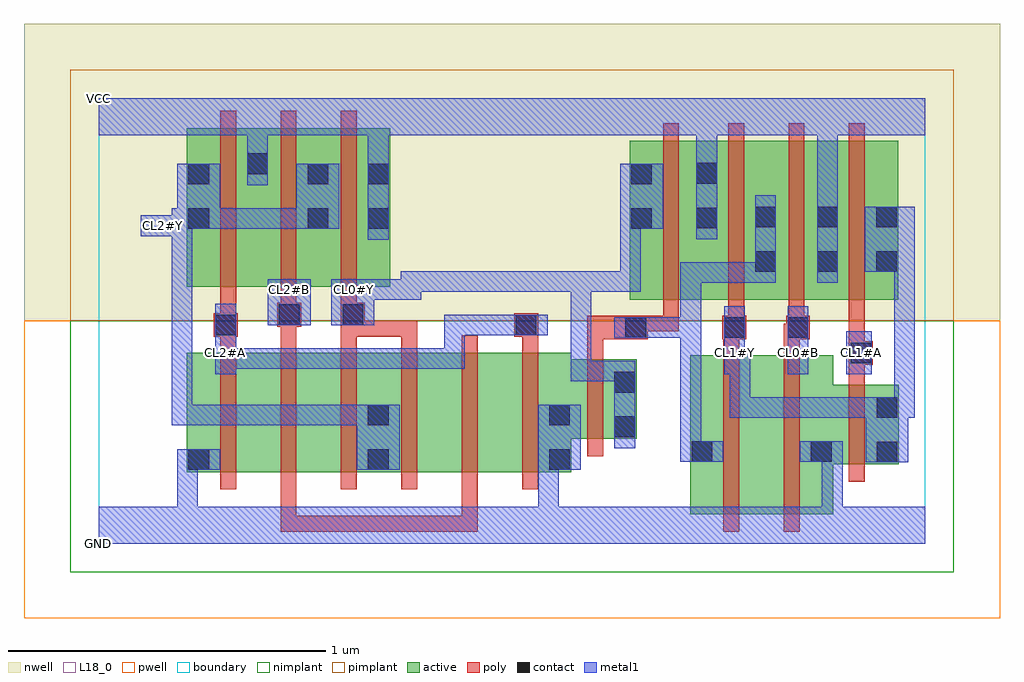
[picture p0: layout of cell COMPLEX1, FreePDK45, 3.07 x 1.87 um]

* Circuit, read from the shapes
.subckt COMPLEX1 CL0#B CL0#Y CL1#A CL1#Y CL2#A CL2#B CL2#Y GND VCC
M1 n1 CL2#A GND VSUBS nfet w=0.375u l=0.05u
M2 n2 CL2#B n1 VSUBS nfet w=0.375u l=0.05u
M3 CL2#Y CL0#Y n2 VSUBS nfet w=0.375u l=0.05u
M4 n3 CL0#Y CL2#Y VSUBS nfet w=0.375u l=0.05u
M5 n4 CL2#B n3 VSUBS nfet w=0.375u l=0.05u
M6 GND CL2#A n4 VSUBS nfet w=0.375u l=0.05u
M7 CL0#Y n5 GND VSUBS nfet w=0.25u l=0.05u
M8 n6 CL1#Y n5 VSUBS nfet w=0.5u l=0.05u
M9 GND CL0#B n6 VSUBS nfet w=0.5u l=0.05u
M10 CL1#Y CL1#A GND VSUBS nfet w=0.25u l=0.05u
M11 VCC CL2#A CL2#Y n7 pfet w=0.5u l=0.05u
M12 CL2#Y CL2#B VCC n7 pfet w=0.5u l=0.05u
M13 VCC CL0#Y CL2#Y n7 pfet w=0.5u l=0.05u
M14 VCC n5 CL0#Y n7 pfet w=0.5u l=0.05u
M15 n5 CL1#Y VCC n7 pfet w=0.5u l=0.05u
M16 VCC CL0#B n5 n7 pfet w=0.5u l=0.05u
M17 CL1#Y CL1#A VCC n7 pfet w=0.5u l=0.05u
.ends

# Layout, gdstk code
import gdstk
lib = gdstk.Library(unit=1e-6, precision=1e-09)
def R(c, l, rs):  # rectangles x0, y0, x1, y1
    for r in rs: c.add(gdstk.rectangle(r[:2], r[2:], *l))
def A(c, l, x, y, w, h, nx, ny, dx, dy):  # array of equal rectangles
    R(c, l, [(x+i*dx, y+j*dy, x+i*dx+w, y+j*dy+h) for i in range(nx) for j in range(ny)])
active = (1, 0)
pwell = (2, 0)
nwell = (3, 0)
nimplant = (4, 0)
pimplant = (5, 0)
poly = (9, 0)
contact = (10, 0)
metal1 = (11, 0)
L18_0 = (18, 0)
boundary = (235, 0)

complex1 = lib.new_cell('COMPLEX1')
R(complex1, active, [(1.86,0.092,2.085,0.592), (2.085,0.092,2.31,0.592), (2.235,0.092,2.31,0.497), (1.86,0.145,1.965,0.592), (0.277,0.225,0.502,0.6), (0.502,0.225,0.692,0.6), (0.692,0.225,0.917,0.6), (0.842,0.225,1.072,0.6), (0.842,0.225,0.917,0.592), (1.072,0.225,1.262,0.6), (1.262,0.225,1.487,0.6), (1.412,0.225,1.487,0.497), (0.277,0.227,0.352,0.6), (2.235,0.25,2.517,0.5), (2.442,0.25,2.517,0.5), (1.412,0.33,1.692,0.58), (1.617,0.33,1.692,0.58), (1.67,0.767,1.745,1.2), (1.67,0.767,1.95,1.267), (1.875,0.767,2.135,1.267), (2.06,0.767,2.33,1.267), (2.255,0.767,2.515,1.267), (2.44,0.767,2.515,1.2), (0.277,0.807,0.537,1.307), (0.277,0.807,0.352,1.2), (0.462,0.807,0.537,1.255), (0.462,0.807,0.727,1.307), (0.652,0.807,0.727,1.2), (0.652,0.807,0.917,1.307), (0.842,0.807,0.917,1.307), (1.875,0.807,1.95,1.267), (2.06,0.807,2.135,1.2), (2.255,0.807,2.33,1.255)])
R(complex1, pwell, [(-0.235,-0.235,2.835,0.7)])
R(complex1, nwell, [(-0.235,0.7,2.835,1.635)])
R(complex1, nimplant, [(-0.09,-0.09,2.69,0.7)])
R(complex1, pimplant, [(-0.09,0.7,2.69,1.49)])
A(complex1, poly, 0.382, 0.17, 0.05, 0.485, 6, 1, 0.19, 0)
A(complex1, poly, 1.98, 0.712, 0.05, 0.61, 3, 1, 0.19, 0)
A(complex1, poly, 0.382, 0.752, 0.05, 0.61, 3, 1, 0.19, 0)
R(complex1, poly, [(0.572,0.037,0.622,0.087), (0.572,0.037,0.622,0.087), (0.572,0.037,0.622,0.087), (0.572,0.037,0.622,0.22), (0.572,0.037,0.87,0.087), (0.82,0.037,0.87,0.087), (0.82,0.037,0.87,0.087), (0.82,0.037,0.87,0.087), (0.82,0.037,1.06,0.087), (1.01,0.037,1.06,0.087), (1.01,0.037,1.192,0.087), (1.142,0.037,1.192,0.087), (1.142,0.037,1.192,0.087), (1.142,0.037,1.192,0.087), (1.142,0.037,1.192,0.22), (1.965,0.037,2.015,0.647), (2.155,0.037,2.205,0.647), (2.36,0.195,2.41,0.555), (1.537,0.275,1.587,0.635), (2.36,0.505,2.41,0.612), (2.36,0.562,2.41,0.612), (2.36,0.562,2.41,0.612), (2.36,0.562,2.435,0.637), (1.537,0.585,1.587,0.692), (2.36,0.587,2.41,0.762), (1.965,0.597,2.015,0.692), (2.155,0.597,2.205,0.692), (0.382,0.605,0.432,0.7), (0.572,0.605,0.622,0.732), (0.762,0.605,0.812,0.7), (0.952,0.605,1.002,0.7), (1.332,0.605,1.382,0.7), (1.537,0.642,1.727,0.717), (1.962,0.642,2.037,0.717), (2.155,0.642,2.212,0.692), (2.162,0.642,2.212,0.692), (2.162,0.642,2.237,0.717), (0.362,0.65,0.437,0.725), (0.762,0.65,0.812,0.7), (0.762,0.65,1.002,0.7), (0.762,0.65,0.812,0.732), (0.952,0.65,1.002,0.7), (0.952,0.65,1.002,0.7), (0.952,0.65,1.002,0.7), (1.307,0.65,1.382,0.725), (1.677,0.667,1.727,0.717), (1.677,0.667,1.825,0.717), (1.775,0.667,1.825,0.762), (1.98,0.667,2.03,0.717), (1.98,0.667,2.03,0.717), (1.98,0.667,2.03,0.762), (2.17,0.667,2.22,0.762), (0.382,0.675,0.432,0.725), (0.382,0.675,0.432,0.725), (0.382,0.675,0.432,0.802), (0.562,0.682,0.637,0.757), (0.572,0.682,0.622,0.732), (0.572,0.682,0.622,0.732), (0.762,0.682,0.837,0.757), (0.572,0.707,0.622,0.802), (0.762,0.707,0.812,0.802), (1.775,0.712,1.825,1.322)])
R(complex1, contact, [(0.282,0.232,0.347,0.297), (0.847,0.232,0.912,0.297), (1.417,0.232,1.482,0.297), (2.447,0.255,2.512,0.32), (1.865,0.257,1.93,0.322), (2.24,0.257,2.305,0.322), (1.622,0.335,1.687,0.4), (0.847,0.372,0.912,0.437), (1.417,0.372,1.482,0.437), (2.447,0.395,2.512,0.46), (1.622,0.475,1.687,0.54), (2.365,0.567,2.43,0.632), (1.657,0.647,1.722,0.712), (1.967,0.647,2.032,0.712), (2.167,0.647,2.232,0.712), (0.367,0.655,0.432,0.72), (1.312,0.655,1.377,0.72), (0.567,0.687,0.632,0.752), (0.767,0.687,0.832,0.752), (2.065,0.855,2.13,0.92), (2.26,0.855,2.325,0.92), (2.445,0.855,2.51,0.92), (0.282,0.99,0.347,1.055), (0.657,0.99,0.722,1.055), (0.847,0.99,0.912,1.055), (1.675,0.99,1.74,1.055), (1.88,0.992,1.945,1.057), (2.065,0.995,2.13,1.06), (2.26,0.995,2.325,1.06), (2.445,0.995,2.51,1.06), (0.282,1.13,0.347,1.195), (0.657,1.13,0.722,1.195), (0.847,1.13,0.912,1.195), (1.675,1.13,1.74,1.195), (1.88,1.132,1.945,1.197), (0.467,1.162,0.532,1.227)])
R(complex1, metal1, [(0,0,2.6,0.115), (0.247,0.05,0.312,0.115), (0.247,0.05,0.312,0.115), (0.247,0.05,0.312,0.297), (1.382,0.05,1.447,0.115), (1.382,0.05,1.447,0.115), (1.382,0.05,1.447,0.297), (2.275,0.05,2.34,0.322), (0.247,0.232,0.382,0.297), (0.812,0.232,0.947,0.437), (1.382,0.232,1.517,0.437), (2.412,0.255,2.547,0.46), (1.83,0.257,1.965,0.322), (1.83,0.257,1.895,0.712), (2.205,0.257,2.34,0.322), (1.622,0.3,1.687,0.575), (0.23,0.372,0.295,0.437), (0.23,0.372,0.295,0.437), (0.23,0.372,0.295,0.437), (0.23,0.372,0.52,0.437), (0.23,0.372,0.295,1.032), (0.455,0.372,0.52,0.437), (0.455,0.372,0.66,0.437), (0.595,0.372,0.66,0.437), (0.595,0.372,0.66,0.437), (0.595,0.372,0.66,0.437), (0.595,0.372,0.877,0.437), (0.812,0.372,0.877,0.437), (0.812,0.372,0.877,0.437), (1.985,0.395,2.17,0.46), (1.985,0.395,2.05,0.597), (2.105,0.395,2.17,0.46), (2.105,0.395,2.187,0.46), (2.122,0.395,2.187,0.46), (2.122,0.395,2.547,0.46), (2.482,0.395,2.547,0.46), (2.482,0.395,2.547,0.46), (2.482,0.395,2.547,0.46), (2.482,0.395,2.567,0.46), (2.502,0.395,2.567,0.92), (1.485,0.51,1.55,0.575), (1.485,0.51,1.55,0.575), (1.485,0.51,1.55,0.575), (1.485,0.51,1.55,0.575), (1.485,0.51,1.55,0.575), (1.485,0.51,1.687,0.575), (1.485,0.51,1.55,0.857), (0.367,0.532,0.432,0.755), (1.967,0.532,2.032,0.747), (1.967,0.532,2.05,0.597), (2.167,0.532,2.232,0.747), (2.352,0.532,2.432,0.667), (0.367,0.55,0.52,0.615), (0.455,0.55,0.52,0.615), (0.455,0.55,0.657,0.615), (0.592,0.55,0.657,0.615), (0.592,0.55,0.657,0.615), (0.592,0.55,0.657,0.615), (0.592,0.55,0.877,0.615), (0.812,0.55,0.877,0.615), (0.812,0.55,0.877,0.615), (0.812,0.55,0.877,0.615), (0.812,0.55,1.015,0.615), (0.95,0.55,1.015,0.615), (0.95,0.55,1.015,0.615), (0.95,0.55,1.015,0.615), (0.95,0.55,1.152,0.615), (1.087,0.55,1.152,0.615), (1.087,0.55,1.152,0.615), (1.087,0.55,1.152,0.72), (1.622,0.647,1.757,0.712), (1.692,0.647,1.757,0.712), (1.692,0.647,1.757,0.712), (1.692,0.647,1.895,0.712), (1.83,0.647,1.895,0.712), (1.83,0.647,1.895,0.885), (1.087,0.655,1.342,0.72), (1.277,0.655,1.412,0.72), (0.532,0.687,0.667,0.832), (0.732,0.687,0.867,0.832), (0.802,0.767,0.867,0.832), (0.802,0.767,0.867,0.832), (0.802,0.767,1.015,0.832), (0.95,0.767,1.015,0.832), (0.95,0.767,1.015,0.832), (0.95,0.767,1.015,0.857), (0.95,0.792,1.152,0.857), (1.087,0.792,1.152,0.857), (1.087,0.792,1.29,0.857), (1.225,0.792,1.29,0.857), (1.225,0.792,1.29,0.857), (1.225,0.792,1.29,0.857), (1.225,0.792,1.55,0.857), (1.485,0.792,1.705,0.857), (1.64,0.792,1.705,1.055), (1.83,0.82,1.912,0.885), (1.847,0.82,1.912,0.885), (1.847,0.82,1.912,0.885), (1.847,0.82,1.912,0.885), (1.847,0.82,1.912,0.885), (1.847,0.82,2.13,0.885), (2.065,0.82,2.13,1.095), (2.26,0.82,2.325,1.095), (2.41,0.855,2.567,1.06), (2.502,0.855,2.567,0.92), (2.502,0.855,2.567,0.92), (0.847,0.955,0.912,1.23), (1.88,0.957,1.945,1.232), (0.132,0.967,0.295,1.032), (0.23,0.967,0.295,1.055), (0.23,0.99,0.312,1.055), (0.247,0.99,0.312,1.055), (0.247,0.99,0.382,1.195), (0.317,0.99,0.382,1.055), (0.317,0.99,0.382,1.055), (0.317,0.99,0.52,1.055), (0.455,0.99,0.52,1.055), (0.455,0.99,0.66,1.055), (0.595,0.99,0.66,1.055), (0.595,0.99,0.687,1.055), (0.622,0.99,0.757,1.195), (1.64,0.99,1.775,1.195), (2.26,1.03,2.325,1.35), (0.467,1.127,0.532,1.262), (0.847,1.165,0.912,1.35), (1.88,1.167,1.945,1.35), (0.467,1.197,0.532,1.35), (0,1.285,2.6,1.4)])
A(complex1, L18_0, 1.967, 0.567, 0.065, 0.065, 3, 1, 0.2, 0)
R(complex1, L18_0, [(0,0,2.6,0.115), (0.247,0.05,0.312,0.115), (0.247,0.05,0.312,0.115), (0.247,0.05,0.312,0.297), (1.382,0.05,1.447,0.115), (1.382,0.05,1.447,0.115), (1.382,0.05,1.447,0.297), (2.275,0.05,2.34,0.322), (0.247,0.232,0.382,0.297), (0.812,0.232,0.947,0.437), (1.382,0.232,1.517,0.437), (2.412,0.255,2.547,0.46), (2.205,0.257,2.34,0.322), (1.622,0.3,1.687,0.575), (0.23,0.372,0.295,0.437), (0.23,0.372,0.295,0.437), (0.23,0.372,0.295,0.437), (0.23,0.372,0.295,1.032), (0.23,0.372,0.52,0.437), (0.455,0.372,0.52,0.437), (0.455,0.372,0.66,0.437), (0.595,0.372,0.66,0.437), (0.595,0.372,0.66,0.437), (0.595,0.372,0.66,0.437), (0.595,0.372,0.877,0.437), (0.812,0.372,0.877,0.437), (0.812,0.372,0.877,0.437), (1.985,0.395,2.05,0.597), (1.985,0.395,2.17,0.46), (2.105,0.395,2.17,0.46), (2.105,0.395,2.187,0.46), (2.122,0.395,2.187,0.46), (2.122,0.395,2.547,0.46), (2.482,0.395,2.547,0.46), (2.482,0.395,2.547,0.46), (2.482,0.395,2.547,0.46), (2.482,0.395,2.567,0.46), (2.502,0.395,2.567,0.92), (1.485,0.51,1.55,0.575), (1.485,0.51,1.55,0.575), (1.485,0.51,1.55,0.575), (1.485,0.51,1.55,0.575), (1.485,0.51,1.55,0.575), (1.485,0.51,1.687,0.575), (1.485,0.51,1.55,0.857), (0.367,0.532,0.432,0.755), (1.967,0.532,2.032,0.747), (1.967,0.532,2.05,0.597), (2.167,0.532,2.232,0.747), (2.352,0.532,2.432,0.667), (0.367,0.55,0.52,0.615), (0.455,0.55,0.52,0.615), (0.455,0.55,0.657,0.615), (0.592,0.55,0.657,0.615), (0.592,0.55,0.657,0.615), (0.592,0.55,0.657,0.615), (0.592,0.55,0.877,0.615), (0.812,0.55,0.877,0.615), (0.812,0.55,0.877,0.615), (0.812,0.55,0.877,0.615), (0.812,0.55,1.015,0.615), (0.95,0.55,1.015,0.615), (0.95,0.55,1.015,0.615), (0.95,0.55,1.015,0.615), (0.95,0.55,1.152,0.615), (1.087,0.55,1.152,0.615), (1.087,0.55,1.152,0.615), (1.087,0.55,1.152,0.72), (0.367,0.567,0.432,0.632), (1.087,0.655,1.342,0.72), (1.277,0.655,1.412,0.72), (0.532,0.687,0.667,0.832), (0.732,0.687,0.867,0.832), (0.567,0.767,0.632,0.832), (0.767,0.767,0.832,0.832), (0.802,0.767,0.867,0.832), (0.802,0.767,0.867,0.832), (0.802,0.767,1.015,0.832), (0.95,0.767,1.015,0.832), (0.95,0.767,1.015,0.832), (0.95,0.767,1.015,0.857), (0.95,0.792,1.152,0.857), (1.087,0.792,1.152,0.857), (1.087,0.792,1.29,0.857), (1.225,0.792,1.29,0.857), (1.225,0.792,1.29,0.857), (1.225,0.792,1.29,0.857), (1.225,0.792,1.55,0.857), (1.485,0.792,1.705,0.857), (1.64,0.792,1.705,1.055), (2.26,0.82,2.325,1.095), (2.41,0.855,2.567,1.06), (2.502,0.855,2.567,0.92), (2.502,0.855,2.567,0.92), (0.847,0.955,0.912,1.23), (1.88,0.957,1.945,1.232), (0.132,0.967,0.295,1.032), (0.167,0.967,0.232,1.032), (0.23,0.967,0.295,1.055), (0.23,0.99,0.312,1.055), (0.247,0.99,0.312,1.055), (0.247,0.99,0.382,1.195), (0.317,0.99,0.382,1.055), (0.317,0.99,0.382,1.055), (0.317,0.99,0.52,1.055), (0.455,0.99,0.52,1.055), (0.455,0.99,0.66,1.055), (0.595,0.99,0.66,1.055), (0.595,0.99,0.687,1.055), (0.622,0.99,0.757,1.195), (1.64,0.99,1.775,1.195), (2.26,1.03,2.325,1.35), (0.467,1.127,0.532,1.262), (0.847,1.165,0.912,1.35), (1.88,1.167,1.945,1.35), (0.467,1.197,0.532,1.35), (0,1.285,2.6,1.4)])
R(complex1, boundary, [(0,0,2.6,1.4)])
complex1.add(gdstk.Label('CL0#B', (2.2,0.6), layer=11, texttype=0))
complex1.add(gdstk.Label('CL0#Y', (0.8,0.8), layer=11, texttype=0))
complex1.add(gdstk.Label('CL1#A', (2.4,0.6), layer=11, texttype=0))
complex1.add(gdstk.Label('CL1#Y', (2,0.6), layer=11, texttype=0))
complex1.add(gdstk.Label('CL2#A', (0.4,0.6), layer=11, texttype=0))
complex1.add(gdstk.Label('CL2#B', (0.6,0.8), layer=11, texttype=0))
complex1.add(gdstk.Label('CL2#Y', (0.2,1), layer=11, texttype=0))
complex1.add(gdstk.Label('VCC', (0,1.4), layer=11, texttype=0))
complex1.add(gdstk.Label('GND', (0,0), layer=11, texttype=0))

lib.write_gds('COMPLEX1.gds')
